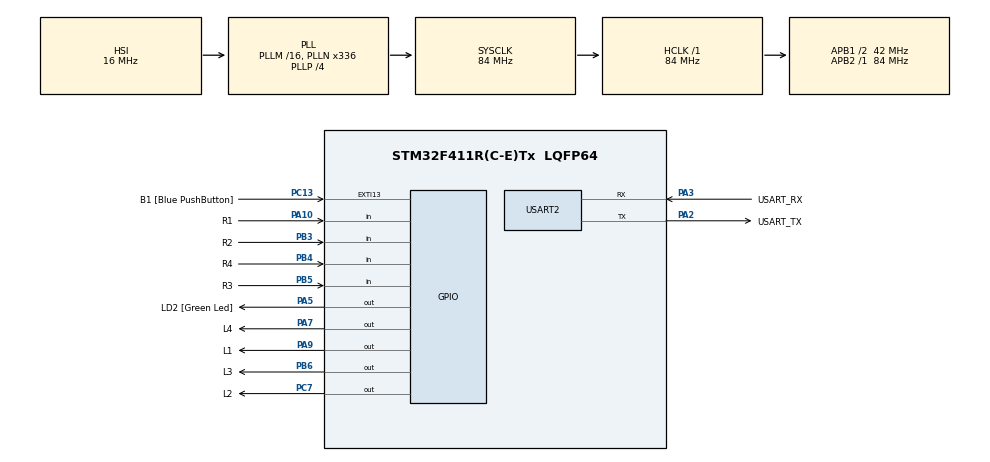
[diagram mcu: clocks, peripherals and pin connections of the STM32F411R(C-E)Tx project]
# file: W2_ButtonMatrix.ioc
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Mcu.Family=STM32F4
Mcu.Name=STM32F411R(C-E)Tx
Mcu.Package=LQFP64
NVIC.PriorityGroup=NVIC_PRIORITYGROUP_0
PA10.GPIO_Label=R1
PA10.GPIO_Mode=GPIO_MODE_INPUT
PA10.GPIO_PuPd=GPIO_PULLUP
PA10.Signal=GPIO_Input
PA13.GPIO_Label=TMS
PA13.Mode=Serial_Wire
PA13.Signal=SYS_JTMS-SWDIO
PA14.GPIO_Label=TCK
PA14.Mode=Serial_Wire
PA14.Signal=SYS_JTCK-SWCLK
PA2.GPIO_Label=USART_TX
PA2.Mode=Asynchronous
PA2.Signal=USART2_TX
PA3.GPIO_Label=USART_RX
PA3.Mode=Asynchronous
PA3.Signal=USART2_RX
PA5.GPIO_Label=LD2 [Green Led]
PA5.Signal=GPIO_Output
PA7.GPIO_Label=L4
PA7.GPIO_ModeDefaultOutputPP=GPIO_MODE_OUTPUT_OD
PA7.GPIO_PuPd=GPIO_NOPULL
PA7.Signal=GPIO_Output
PA9.GPIO_Label=L1
PA9.GPIO_ModeDefaultOutputPP=GPIO_MODE_OUTPUT_OD
PA9.GPIO_PuPd=GPIO_NOPULL
PA9.Signal=GPIO_Output
PB3.GPIO_Label=R2
PB3.GPIO_Mode=GPIO_MODE_INPUT
PB3.GPIO_PuPd=GPIO_PULLUP
PB3.Signal=GPIO_Input
PB4.GPIO_Label=R4
PB4.GPIO_Mode=GPIO_MODE_INPUT
PB4.GPIO_PuPd=GPIO_PULLUP
PB4.Signal=GPIO_Input
PB5.GPIO_Label=R3
PB5.GPIO_Mode=GPIO_MODE_INPUT
PB5.GPIO_PuPd=GPIO_PULLUP
PB5.Signal=GPIO_Input
PB6.GPIO_Label=L3
PB6.GPIO_ModeDefaultOutputPP=GPIO_MODE_OUTPUT_OD
PB6.GPIO_PuPd=GPIO_NOPULL
PB6.Signal=GPIO_Output
PC13-ANTI_TAMP.GPIO_Label=B1 [Blue PushButton]
PC13-ANTI_TAMP.GPIO_ModeDefaultEXTI=GPIO_MODE_IT_FALLING
PC13-ANTI_TAMP.Signal=GPXTI13
PC14-OSC32_IN.Mode=LSE-External-Oscillator
PC14-OSC32_IN.Signal=RCC_OSC32_IN
PC15-OSC32_OUT.Mode=LSE-External-Oscillator
PC15-OSC32_OUT.Signal=RCC_OSC32_OUT
PC7.GPIO_Label=L2
PC7.GPIO_ModeDefaultOutputPP=GPIO_MODE_OUTPUT_OD
PC7.GPIO_PuPd=GPIO_NOPULL
PC7.Signal=GPIO_Output
PH0\ -\ OSC_IN.Mode=HSE-External-Clock-Source
PH0\ -\ OSC_IN.Signal=RCC_OSC_IN
PH1\ -\ OSC_OUT.Mode=HSE-External-Clock-Source
PH1\ -\ OSC_OUT.Signal=RCC_OSC_OUT
ProjectManager.HeapSize=0x200
ProjectManager.StackSize=0x400
ProjectManager.TargetToolchain=STM32CubeIDE
RCC.48MHZClocksFreq_Value=84000000
RCC.AHBFreq_Value=84000000
RCC.APB1CLKDivider=RCC_HCLK_DIV2
RCC.APB1Freq_Value=42000000
RCC.APB1TimFreq_Value=84000000
RCC.APB2Freq_Value=84000000
RCC.APB2TimFreq_Value=84000000
RCC.CortexFreq_Value=84000000
RCC.FLatency-AdvancedSettings=FLASH_LATENCY_2
RCC.HCLKFreq_Value=84000000
RCC.HSE_VALUE=8000000
RCC.HSI_VALUE=16000000
RCC.PLLN=336
RCC.PLLP=RCC_PLLP_DIV4
RCC.SYSCLKFreq_VALUE=84000000
RCC.SYSCLKSource=RCC_SYSCLKSOURCE_PLLCLK
RCC.VCOOutputFreq_Value=336000000
USART2.VirtualMode=VM_ASYNC
board=NUCLEO-F411RE

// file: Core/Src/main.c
/* USER CODE BEGIN Header */
/**
  ******************************************************************************
  * @file           : main.c
  * @brief          : Main program body
  ******************************************************************************
  * @attention
  *
  * Copyright (c) 2022 STMicroelectronics.
  * All rights reserved.
  *
  * This software is licensed under terms that can be found in the LICENSE file
  * in the root directory of this software component.
  * If no LICENSE file comes with this software, it is provided AS-IS.
  *
  ******************************************************************************
  */
/* USER CODE END Header */
#include "main.h"

UART_HandleTypeDef huart2;

/* USER CODE BEGIN PV */
uint16_t ButtonState = 0; //store 4x4
static uint16_t DataAns[11] = {0};
static uint8_t i = 0;

/* USER CODE END PV */

void SystemClock_Config(void);
static void MX_GPIO_Init(void);
static void MX_USART2_UART_Init(void);
/* USER CODE BEGIN PFP */
void ButtonMatrixRead();
/* USER CODE END PFP */

int main(void)
{

  /* MCU Configuration--------------------------------------------------------*/

  /* Reset of all peripherals, Initializes the Flash interface and the Systick. */
  HAL_Init();

  /* Configure the system clock */
  SystemClock_Config();

  /* Initialize all configured peripherals */
  MX_GPIO_Init();
  MX_USART2_UART_Init();

  /* Infinite loop */
  while (1)
  {

	  //function that read Button
	  	  ButtonMatrixRead();

	  //Experiment 2
//	  static uint8_t i = 0;

//	  static uint16_t Data[11] = {6,3,3,4,0,5,0,0,0,7,0};
//	  static uint32_t timeStamp = 0;
//	  if(HAL_GetTick() - timeStamp >= 400){	//100 ms or 0.5s
//		  timeStamp = HAL_GetTick();
//		  if(ButtonState == 1){
//			  DataAns[i] = 7;
//			  i += 1;
//		  }
//		  else if(ButtonState == 2){
//			  DataAns[i] = 8;
//			  i += 1;
//		  }
//		  else if(ButtonState == 4){
//			  DataAns[i] = 9;
//			  i += 1;
//		  }
//		  else if(ButtonState == 16){
//			  DataAns[i] = 4;
//			  i += 1;
//		  }
//		  else if(ButtonState == 32){
//			  DataAns[i] = 5;
//			  i += 1;
//		  }
//		  else if(ButtonState == 64){
//			  DataAns[i] = 6;
//			  i += 1;
//		  }
//		  else if(ButtonState == 256){
//			  DataAns[i] = 1;
//			  i += 1;
//		  }
//		  else if(ButtonState == 512){
//			  DataAns[i] = 2;
//			  i += 1;
//		  }
//		  else if(ButtonState == 1024){
//			  DataAns[i] = 3;
//			  i += 1;
//		  }
//		  else if(ButtonState == 4096){
//			  DataAns[i] = 0;
//			  i += 1;
//		  }
//		  else if(ButtonState == 32768){
//			  for(int j=0 ; j < 11 ; j++){
//				  if(Data[j] == DataAns[j]){
//					  if(j == 10){
//						  HAL_GPIO_WritePin(GPIOA, GPIO_PIN_5, GPIO_PIN_SET);
//					  }
//				  }
//				  else{
//					  i = 0;
//				  }
//			  }
//		  }
//		  else if(ButtonState == 8){
//			  for(int j = 0 ; j < 11 ; j++){
//				  DataAns[j] = 0;
//			  }
//			  i = 0;
//		  }
//		  else if(ButtonState == 128){
//			  DataAns[i-1] = 0;
//			  i -= 1;
//		  }
//	  }

	  	  //Experiment 2 Key pad

  }
}

void SystemClock_Config(void)
{
  RCC_OscInitTypeDef RCC_OscInitStruct = {0};
  RCC_ClkInitTypeDef RCC_ClkInitStruct = {0};

  /** Configure the main internal regulator output voltage
  */
  __HAL_RCC_PWR_CLK_ENABLE();
  __HAL_PWR_VOLTAGESCALING_CONFIG(PWR_REGULATOR_VOLTAGE_SCALE1);
  /** Initializes the RCC Oscillators according to the specified parameters
  * in the RCC_OscInitTypeDef structure.
  */
  RCC_OscInitStruct.OscillatorType = RCC_OSCILLATORTYPE_HSI;
  RCC_OscInitStruct.HSIState = RCC_HSI_ON;
  RCC_OscInitStruct.HSICalibrationValue = RCC_HSICALIBRATION_DEFAULT;
  RCC_OscInitStruct.PLL.PLLState = RCC_PLL_ON;
  RCC_OscInitStruct.PLL.PLLSource = RCC_PLLSOURCE_HSI;
  RCC_OscInitStruct.PLL.PLLM = 16;
  RCC_OscInitStruct.PLL.PLLN = 336;
  RCC_OscInitStruct.PLL.PLLP = RCC_PLLP_DIV4;
  RCC_OscInitStruct.PLL.PLLQ = 4;
  if (HAL_RCC_OscConfig(&RCC_OscInitStruct) != HAL_OK)
  {
    Error_Handler();
  }
  /** Initializes the CPU, AHB and APB buses clocks
  */
  RCC_ClkInitStruct.ClockType = RCC_CLOCKTYPE_HCLK|RCC_CLOCKTYPE_SYSCLK
                              |RCC_CLOCKTYPE_PCLK1|RCC_CLOCKTYPE_PCLK2;
  RCC_ClkInitStruct.SYSCLKSource = RCC_SYSCLKSOURCE_PLLCLK;
  RCC_ClkInitStruct.AHBCLKDivider = RCC_SYSCLK_DIV1;
  RCC_ClkInitStruct.APB1CLKDivider = RCC_HCLK_DIV2;
  RCC_ClkInitStruct.APB2CLKDivider = RCC_HCLK_DIV1;

  if (HAL_RCC_ClockConfig(&RCC_ClkInitStruct, FLASH_LATENCY_2) != HAL_OK)
  {
    Error_Handler();
  }
}

static void MX_USART2_UART_Init(void)
{

  huart2.Instance = USART2;
  huart2.Init.BaudRate = 115200;
  huart2.Init.WordLength = UART_WORDLENGTH_8B;
  huart2.Init.StopBits = UART_STOPBITS_1;
  huart2.Init.Parity = UART_PARITY_NONE;
  huart2.Init.Mode = UART_MODE_TX_RX;
  huart2.Init.HwFlowCtl = UART_HWCONTROL_NONE;
  huart2.Init.OverSampling = UART_OVERSAMPLING_16;
  if (HAL_UART_Init(&huart2) != HAL_OK)
  {
    Error_Handler();
  }

}

static void MX_GPIO_Init(void)
{
  GPIO_InitTypeDef GPIO_InitStruct = {0};

  /* GPIO Ports Clock Enable */
  __HAL_RCC_GPIOC_CLK_ENABLE();
  __HAL_RCC_GPIOH_CLK_ENABLE();
  __HAL_RCC_GPIOA_CLK_ENABLE();
  __HAL_RCC_GPIOB_CLK_ENABLE();

  /*Configure GPIO pin Output Level */
  HAL_GPIO_WritePin(GPIOA, LD2_Pin|L4_Pin|L1_Pin, GPIO_PIN_RESET);

  /*Configure GPIO pin Output Level */
  HAL_GPIO_WritePin(L2_GPIO_Port, L2_Pin, GPIO_PIN_RESET);

  /*Configure GPIO pin Output Level */
  HAL_GPIO_WritePin(L3_GPIO_Port, L3_Pin, GPIO_PIN_RESET);

  /*Configure GPIO pin : B1_Pin */
  GPIO_InitStruct.Pin = B1_Pin;
  GPIO_InitStruct.Mode = GPIO_MODE_IT_FALLING;
  GPIO_InitStruct.Pull = GPIO_NOPULL;
  HAL_GPIO_Init(B1_GPIO_Port, &GPIO_InitStruct);

  /*Configure GPIO pin : LD2_Pin */
  GPIO_InitStruct.Pin = LD2_Pin;
  GPIO_InitStruct.Mode = GPIO_MODE_OUTPUT_PP;
  GPIO_InitStruct.Pull = GPIO_NOPULL;
  GPIO_InitStruct.Speed = GPIO_SPEED_FREQ_LOW;
  HAL_GPIO_Init(LD2_GPIO_Port, &GPIO_InitStruct);

  /*Configure GPIO pins : L4_Pin L1_Pin */
  GPIO_InitStruct.Pin = L4_Pin|L1_Pin;
  GPIO_InitStruct.Mode = GPIO_MODE_OUTPUT_OD;
  GPIO_InitStruct.Pull = GPIO_NOPULL;
  GPIO_InitStruct.Speed = GPIO_SPEED_FREQ_LOW;
  HAL_GPIO_Init(GPIOA, &GPIO_InitStruct);

  /*Configure GPIO pin : L2_Pin */
  GPIO_InitStruct.Pin = L2_Pin;
  GPIO_InitStruct.Mode = GPIO_MODE_OUTPUT_OD;
  GPIO_InitStruct.Pull = GPIO_NOPULL;
  GPIO_InitStruct.Speed = GPIO_SPEED_FREQ_LOW;
  HAL_GPIO_Init(L2_GPIO_Port, &GPIO_InitStruct);

  /*Configure GPIO pin : R1_Pin */
  GPIO_InitStruct.Pin = R1_Pin;
  GPIO_InitStruct.Mode = GPIO_MODE_INPUT;
  GPIO_InitStruct.Pull = GPIO_PULLUP;
  HAL_GPIO_Init(R1_GPIO_Port, &GPIO_InitStruct);

  /*Configure GPIO pins : R2_Pin R4_Pin R3_Pin */
  GPIO_InitStruct.Pin = R2_Pin|R4_Pin|R3_Pin;
  GPIO_InitStruct.Mode = GPIO_MODE_INPUT;
  GPIO_InitStruct.Pull = GPIO_PULLUP;
  HAL_GPIO_Init(GPIOB, &GPIO_InitStruct);

  /*Configure GPIO pin : L3_Pin */
  GPIO_InitStruct.Pin = L3_Pin;
  GPIO_InitStruct.Mode = GPIO_MODE_OUTPUT_OD;
  GPIO_InitStruct.Pull = GPIO_NOPULL;
  GPIO_InitStruct.Speed = GPIO_SPEED_FREQ_LOW;
  HAL_GPIO_Init(L3_GPIO_Port, &GPIO_InitStruct);

}

/* USER CODE BEGIN 4 */
//Read button state form 4x4 button

GPIO_TypeDef* ButtonMatrixPortR[4] = {R1_GPIO_Port,R2_GPIO_Port,R3_GPIO_Port,R4_GPIO_Port};
uint16_t ButtonMatrixPinR[4] = {R1_Pin,R2_Pin,R3_Pin,R4_Pin};

GPIO_TypeDef* ButtonMatrixPortL[4] = {L1_GPIO_Port,L2_GPIO_Port,L3_GPIO_Port,L4_GPIO_Port};
uint16_t ButtonMatrixPinL[4] = {L1_Pin,L2_Pin,L3_Pin,L4_Pin};

void ButtonMatrixRead()
{
	static uint32_t timeStamp = 0;
	static uint8_t CurrentL = 0;
	//call reader every 100ms
	if (HAL_GetTick() - timeStamp >= 100)
	{
		timeStamp = HAL_GetTick();

		for(int i = 0 ; i < 4; i++)
		{
			if ( HAL_GPIO_ReadPin(ButtonMatrixPortR[i], ButtonMatrixPinR[i]) == GPIO_PIN_RESET) // Button press
			{

				//set bit i to 1
				ButtonState |= 1 << (i + (CurrentL*4));
			}
			else
			{
				//set bit i to 0
				ButtonState &= ~(1 << (i + (CurrentL*4)));

			}

		}

		HAL_GPIO_WritePin(ButtonMatrixPortL[CurrentL], ButtonMatrixPinL[CurrentL], GPIO_PIN_SET);

		uint8_t nextL = ( CurrentL+1 ) % 4;
		HAL_GPIO_WritePin(ButtonMatrixPortL[nextL], ButtonMatrixPinL[nextL], GPIO_PIN_RESET);
		CurrentL = nextL;
	}

}

/* USER CODE END 4 */

void Error_Handler(void)
{
  __disable_irq();
  while (1)
  {
  }
}
